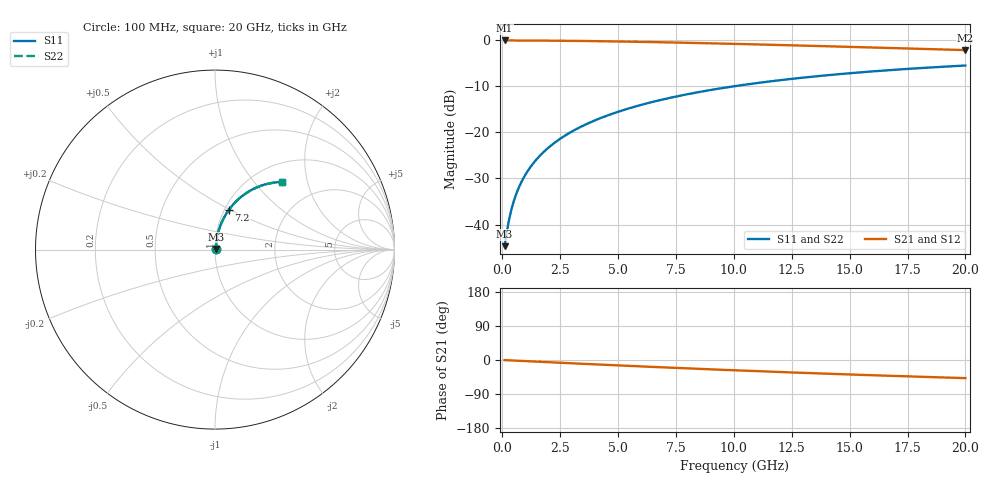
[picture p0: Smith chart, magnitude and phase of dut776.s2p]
! Touchstone file exported from HFSS 2024.1.0
!  File:  C:/UserFiles/LocalFiles/RDL_TSV_Batchsim/temp_RDL_top_776_1779852814.aedt
!  Generated:  11:35:49 AM May 27, 2026
!  Design:  RDL_top
!  Project:  temp_RDL_top_776_1779852814
!  Setup:  Setup1
!  Solution:  Sweep
! Variables:
!  dtsv = 10.80580581um
!  hbump = 3um
!  htsv = 55.44um
!  ldown = 100um
!  lrdl = 637.71um
!  p = 40
!  p1 = 50.3um
!  rhole = 1um
!  t = 450um
!  tdown = 3.915915916um
!  trdl = 4.74um
!  wdown = 15.38538539um
!  wrdl = 10.25um
# GHz S MA R 50.000000
! Terminal data exported
! Port[1] = Box2_T1
! Port[2] = Box2_T2
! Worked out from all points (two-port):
!   200 points, 100 MHz to 20 GHz, reference 50 ohm
!   highest |S21| = -0.04 dB at 100 MHz (marker M1); lowest = -2.1 dB at 20 GHz (marker M2)
!   |S21| within 3 dB of the highest: start of sweep to end of sweep
!   lowest |S11| = -44.7 dB at 100 MHz (marker M3), VSWR 1.01, Z = 50.5 + j0.354 ohm
!   |S11| at or under -10 dB: start of sweep to 9.987 GHz
!   |S22| runs from -44.7 to -5.5 dB; largest |S21 - S12| = 7.2e-15
!   S11 on the Smith chart (normalised r, x): 100 MHz: 1.01, +0.01; 7.2 GHz: 1.05, +0.50; 20 GHz: 1.35, +1.42
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0.1  0.005827 37.0  0.9953 -0.3  0.9953 -0.3  0.005827 37.0
! Gamma 0 0 0 0
! Port Impedance 50 0 50 0
0.2  0.008453 55.8  0.9953 -0.6  0.9953 -0.6  0.008453 55.8
0.3  0.01154 64.9  0.9951 -0.9  0.9951 -0.9  0.01154 64.9
0.4  0.01478 69.9  0.995 -1.2  0.995 -1.2  0.01478 69.9
0.5  0.01807 73.0  0.9948 -1.5  0.9948 -1.5  0.01807 73.0
0.6  0.0214 75.1  0.9947 -1.8  0.9947 -1.8  0.0214 75.1
0.8  0.0281 77.6  0.9943 -2.4  0.9943 -2.4  0.0281 77.6
1.1  0.0382 79.5  0.9936 -3.2  0.9936 -3.2  0.0382 79.5
1.5  0.0517 80.4  0.9925 -4.4  0.9925 -4.4  0.0517 80.4
1.8  0.06182 80.5  0.9914 -5.3  0.9914 -5.3  0.06182 80.5
2.1  0.07193 80.4  0.9901 -6.1  0.9901 -6.1  0.07193 80.4
2.7  0.09206 79.8  0.9872 -7.8  0.9872 -7.8  0.09206 79.7
3.5  0.1186 78.4  0.9822 -10.1  0.9822 -10.1  0.1186 78.4
4.2  0.1416 77.1  0.977 -12.1  0.977 -12.1  0.1416 77.1
5  0.1674 75.4  0.9703 -14.3  0.9703 -14.3  0.1674 75.4
6.8  0.2238 71.5  0.9525 -19.1  0.9525 -19.1  0.2237 71.5
7.2  0.2359 70.7  0.9481 -20.1  0.9481 -20.1  0.2359 70.6
8.6  0.2773 67.6  0.9319 -23.6  0.9319 -23.6  0.2772 67.5
10.1  0.3193 64.3  0.9133 -27.3  0.9133 -27.3  0.3192 64.3
13.4  0.4029 57.4  0.8697 -34.8  0.8697 -34.8  0.4026 57.3
16.7  0.4736 51.0  0.8251 -41.6  0.8251 -41.6  0.4733 50.9
20  0.532 45.1  0.782 -47.8  0.782 -47.8  0.5316 45.0
